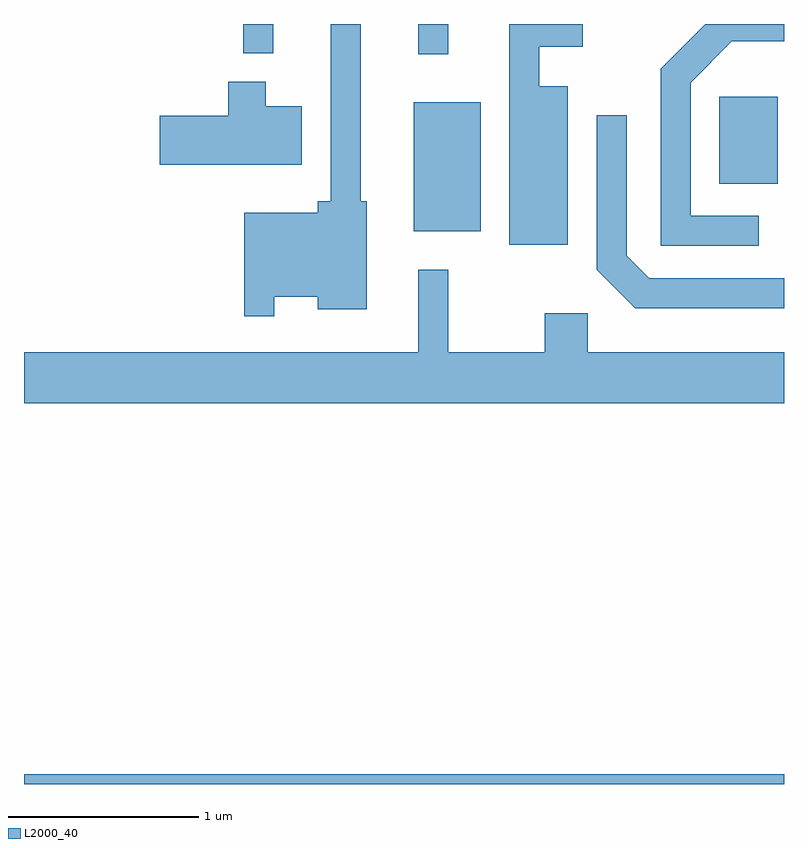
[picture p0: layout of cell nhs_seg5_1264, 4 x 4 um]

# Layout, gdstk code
import gdstk
lib = gdstk.Library(unit=1e-6, precision=1e-09)
def R(c, l, rs):  # rectangles x0, y0, x1, y1
    for r in rs: c.add(gdstk.rectangle(r[:2], r[2:], *l))
def P(c, l, *ps):  # polygons
    for p in ps: c.add(gdstk.Polygon(p, *l))
L2000_40 = (2000, 40)

nhs_seg5_1264 = lib.new_cell('nhs_seg5_1264')
R(nhs_seg5_1264, L2000_40, [(221.611,1508.072,225.611,1508.124), (223.661,1510.981,224.014,1511.659), (225.271,1511.231,225.579,1511.689), (223.686,1511.913,223.844,1512.072), (222.766,1511.918,222.924,1512.072)])
P(nhs_seg5_1264, L2000_40, [(224.474,1511.744),(224.324,1511.744),(224.324,1511.951),(224.553,1511.951),(224.553,1512.072),(224.166,1512.072),(224.166,1510.911),(224.474,1510.911)],
  [(222.929,1510.636),(223.156,1510.636),(223.156,1510.571),(223.414,1510.571),(223.414,1511.139),(223.384,1511.139),(223.384,1512.072),(223.226,1512.072),(223.226,1511.139),(223.156,1511.139),(223.156,1511.079),(222.771,1511.079),(222.771,1510.533),(222.929,1510.533)],
  [(225.478,1511.064),(225.119,1511.064),(225.119,1511.764),(225.337,1511.981),(225.611,1511.981),(225.611,1512.072),(225.197,1512.072),(224.961,1511.837),(224.961,1510.906),(225.478,1510.906)],
  [(223.074,1511.639),(222.884,1511.639),(222.884,1511.769),(222.686,1511.769),(222.686,1511.589),(222.326,1511.589),(222.326,1511.331),(223.074,1511.331)],
  [(225.611,1510.734),(224.902,1510.734),(224.784,1510.852),(224.784,1511.593),(224.626,1511.593),(224.626,1510.779),(224.829,1510.576),(225.611,1510.576)],
  [(225.611,1510.344),(224.579,1510.344),(224.579,1510.549),(224.351,1510.549),(224.351,1510.344),(223.844,1510.344),(223.844,1510.778),(223.686,1510.778),(223.686,1510.344),(221.611,1510.344),(221.611,1510.076),(225.611,1510.076)])

lib.write_gds('nhs_seg5_1264.gds')
